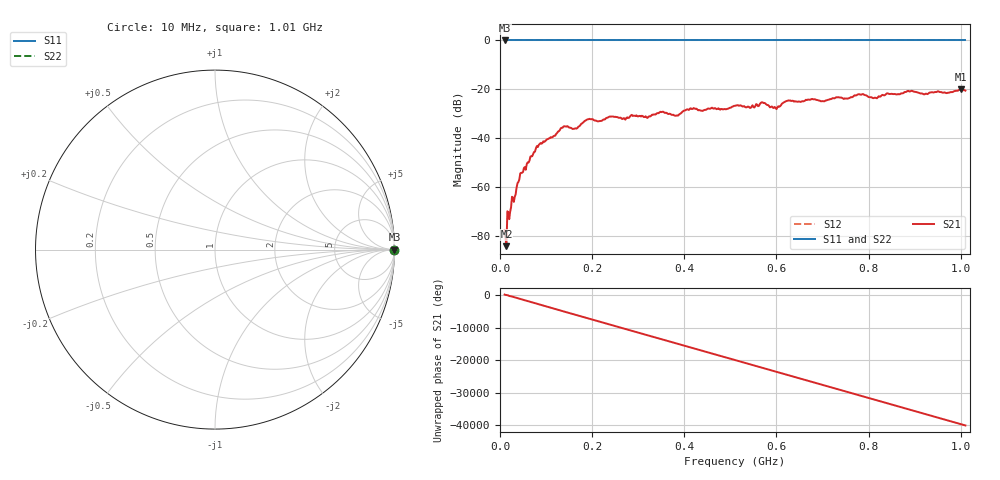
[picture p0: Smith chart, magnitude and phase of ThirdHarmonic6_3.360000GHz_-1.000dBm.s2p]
! 8/17/2025 10:37:50 AM
! C:\ANRITSUVNA\TEMP\TEMP.S2P
! CHANNEL.1
! TR.MEASUREMENT
! RAW.DATA
! RF.CORRECTION.OFF
! AVERAGING.OFF
! IF.BANDWIDTH: 5KHZ
! SWEEPTYPE:  FREQ.SWEEP(Linear)
! Reference Plane Port Info
! PORT:  PORT1  PORT2
! DISTANCE:  0  m  0  m
! TIME:  0  s  0  s
! PHASE.OFFSET:  0  deg.  0  deg.
! LOSS:  0  dB  0  dB
! REF.LOSS:  0  dB  0  dB
! REF.FREQ:  0  Hz  0  Hz
! Power Info
! POWER:  -20  dBm  -20  dBm
! EFF.POWER:  -20  dBm  -20  dBm
! SOURCE.ATTEN:  0  dB  0  dB
! TEST.ATTEN:  0  dB  0  dB
# GHZ S RI R 50.0
! FREQ.GHZ  S11RE  S11IM  S21RE  S21IM  S12RE  S12IM  S22RE  S22IM
!; PortSelection: Port_12
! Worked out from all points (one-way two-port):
!   501 points, 10 MHz to 1.01 GHz, reference 50 ohm
!   highest |S21| = -20.01 dB at 1 GHz (marker M1); lowest = -84.3 dB at 14 MHz (marker M2)
!   lowest |S11| = 0.0 dB at 10 MHz (marker M3)
!   |S11| at or under -10 dB: nowhere
!   |S22| runs from 0.0 to 0.0 dB; largest |S21 - S12| = 1.1
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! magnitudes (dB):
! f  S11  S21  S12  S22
! 10 MHz  0.0  -77.6  0.0  0.0
! 14 MHz  0.0  -84.3  0.0  0.0
! 42 MHz  0.0  -56.9  0.0  0.0
! 82 MHz  0.0  -43.7  0.0  0.0
! 136 MHz  0.0  -35.7  0.0  0.0
! 162 MHz  0.0  -36.1  0.0  0.0
! 178 MHz  0.0  -34.0  0.0  0.0
! 192 MHz  0.0  -32.3  0.0  0.0
! 322 MHz  0.0  -31.3  0.0  0.0
! 344 MHz  0.0  -29.8  0.0  0.0
! 382 MHz  0.0  -30.8  0.0  0.0
! 416 MHz  0.0  -28.1  0.0  0.0
! 510 MHz  0.0  -26.8  0.0  0.0
! 570 MHz  0.0  -25.4  0.0  0.0
! 598 MHz  0.0  -27.6  0.0  0.0
! 624 MHz  0.0  -24.7  0.0  0.0
! 678 MHz  0.0  -24.0  0.0  0.0
! 784 MHz  0.0  -22.3  0.0  0.0
! 814 MHz  0.0  -23.4  0.0  0.0
! 844 MHz  0.0  -21.9  0.0  0.0
! 1 GHz  0.0  -20.0  0.0  0.0
! 1.01 GHz  0.0  -20.6  0.0  0.0
